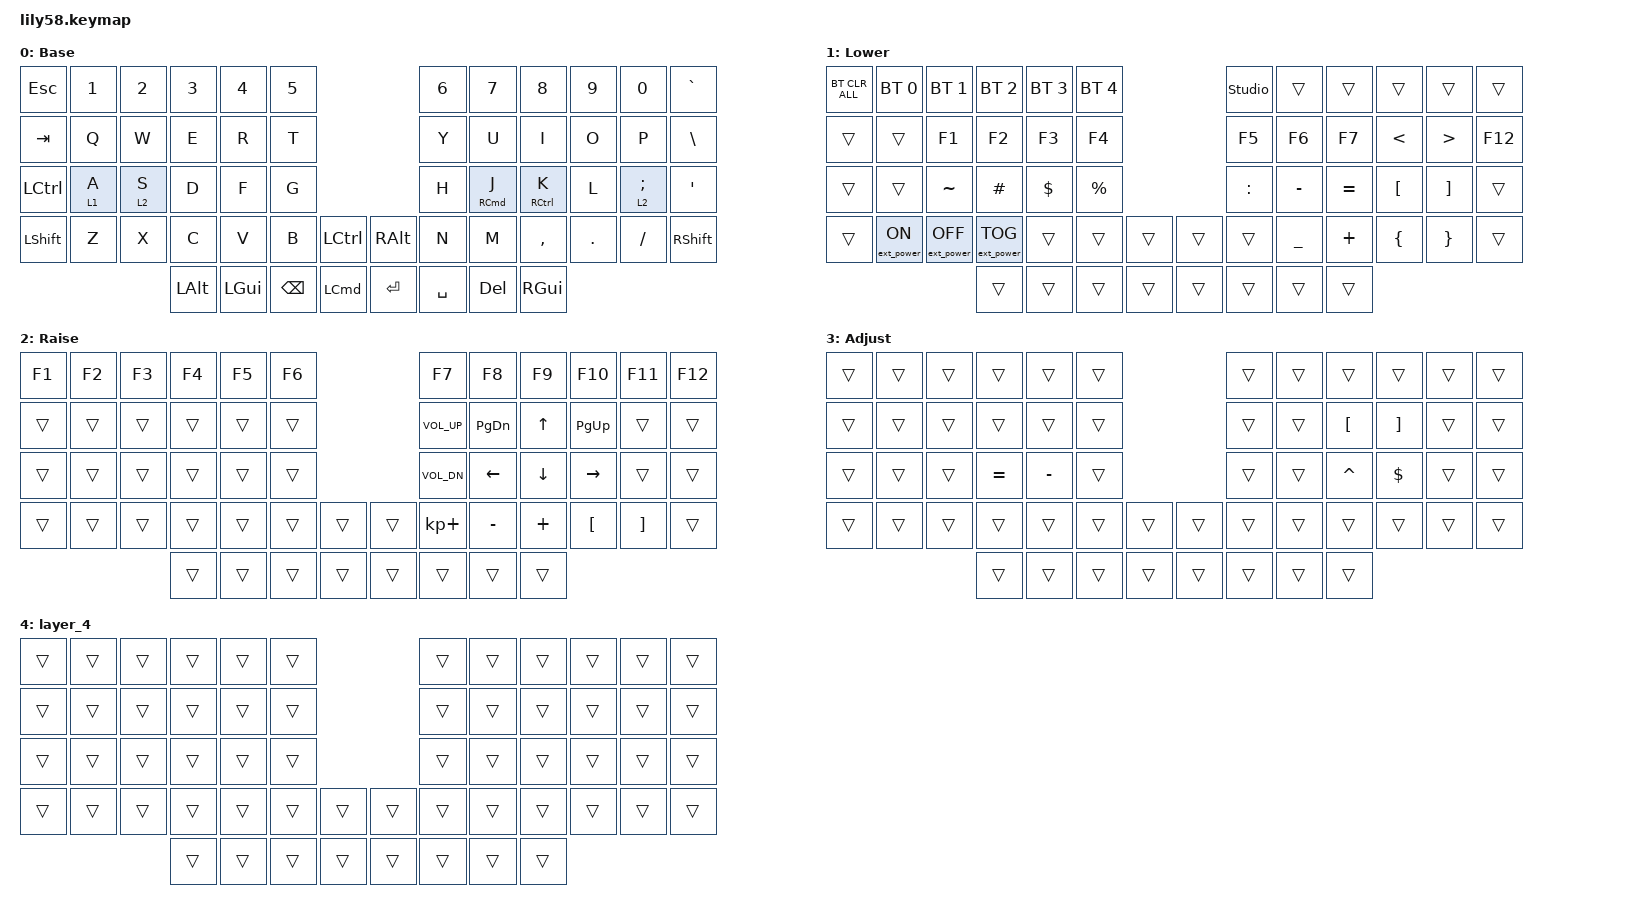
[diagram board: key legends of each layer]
/*
 * Copyright (c) 2020 The ZMK Contributors
 *
 * SPDX-License-Identifier: MIT
 */

#include <behaviors.dtsi>
#include <dt-bindings/zmk/bt.h>
#include <dt-bindings/zmk/ext_power.h>
#include <dt-bindings/zmk/keys.h>

#define default_layer 0
#define lower_layer 1
#define raise_layer 2
#define adjust_layer 3

/ {
    behaviors {
        // Home-row mod: bardziej odporny na szybkie pisanie niż wbudowane &mt.
        // - require-prior-idle-ms: jeśli poprzedni klawisz był <150ms temu,
        //   wymusza tap (litera), więc w płynnym pisaniu mod nie odpala.
        // - flavor balanced: mod tylko gdy przerywający klawisz zostanie
        //   naciśnięty I puszczony w trakcie trzymania.
        // - tapping-term-ms: minimalny czas przytrzymania, by uznać za mod.
        hm: home_row_mod {
            compatible = "zmk,behavior-hold-tap";
            #binding-cells = <2>;
            flavor = "balanced";
            tapping-term-ms = <220>;
            quick-tap-ms = <175>;
            require-prior-idle-ms = <150>;
            bindings = <&kp>, <&kp>;
            display-name = "Home Row Mod";
        };
    };

    keymap {
        compatible = "zmk,keymap";

        default_layer {
            display-name = "Base";

            // ------------------------------------------------------------------------------------------------------------
            // |  ESC  |  1  |  2  |  3   |  4   |  5   |                   |  6   |  7    |  8    |  9   |   0   |   `   |
            // |  TAB  |  Q  |  W  |  E   |  R   |  T   |                   |  Y   |  U    |  I    |  O   |   P   |   -   |
            // |  CTRL |  A  |  S  |  D   |  F   |  G   |                   |  H   |  J    |  K    |  L   |   ;   |   '   |
            // | SHIFT |  Z  |  X  |  C   |  V   |  B   |   "["  |  |  "]"  |  N   |  M    |  ,    |  .   |   /   | SHIFT |
            //                     | ALT  | GUI  | LOWER|  SPACE |  | ENTER | RAISE| BSPC  | GUI   |

            bindings = <
&kp ESC    &kp N1   &kp N2   &kp N3    &kp N4    &kp N5                                       &kp N6     &kp N7               &kp N8               &kp N9   &kp N0      &kp GRAVE
&kp TAB    &kp Q    &kp W    &kp E     &kp R     &kp T                                        &kp Y      &kp U                &kp I                &kp O    &kp P       &kp BSLH
&kp LCTRL  &lt 1 A  &lt 2 S  &kp D     &kp F     &kp G                                        &kp H      &hm RIGHT_COMMAND J  &hm RIGHT_CONTROL K  &kp L    &lt 2 SEMI  &kp SQT
&kp LSHFT  &kp Z    &kp X    &kp C     &kp V     &kp B          &kp LEFT_CONTROL    &kp RALT  &kp N      &kp M                &kp COMMA            &kp DOT  &kp FSLH    &kp RSHFT
                             &kp LALT  &kp LGUI  &kp BACKSPACE  &kp LEFT_COMMAND    &kp RET   &kp SPACE  &kp DELETE           &kp RGUI
            >;
        };

        lower_layer {
            display-name = "Lower";

            // ------------------------------------------------------------------------------------------------------------
            // | BTCLR | BT1 | BT2 |  BT3 |  BT4 |  BT5 |                   |      |       |       |      |       |       |
            // |  F1   |  F2 |  F3 |  F4  |  F5  |  F6  |                   |  F7  |  F8   |  F9   |  F10 |  F11  |  F12  |
            // |   `   |  !  |  @  |  #   |  $   |  %   |                   |  ^   |  &    |  *    |  (   |   )   |   ~   |
            // |       |     |     |      |      |      |        |  |       |      |  _    |  +    |  {   |   }   |  "|"  |
            //                     |      |      |      |        |  |       |      |       |       |

            bindings = <
&bt BT_CLR_ALL  &bt BT_SEL 0      &bt BT_SEL 1       &bt BT_SEL 2       &bt BT_SEL 3  &bt BT_SEL 4                    &studio_unlock  &trans     &trans     &trans         &trans            &trans
&trans          &trans            &kp F1             &kp F2             &kp F3        &kp F4                          &kp F5          &kp F6     &kp F7     &kp LESS_THAN  &kp GREATER_THAN  &kp F12
&trans          &trans            &kp TILDE          &kp HASH           &kp DOLLAR    &kp PRCNT                       &kp COLON       &kp MINUS  &kp EQUAL  &kp LBKT       &kp RBKT          &trans
&trans          &ext_power EP_ON  &ext_power EP_OFF  &ext_power EP_TOG  &trans        &trans        &trans    &trans  &trans          &kp UNDER  &kp PLUS   &kp LBRC       &kp RBRC          &trans
                                                     &trans             &trans        &trans        &trans    &trans  &trans          &trans     &trans
            >;
        };

        raise_layer {
            display-name = "Raise";

            // ------------------------------------------------------------------------------------------------------------
            // |       |     |     |      |      |      |                   |      |       |       |      |       |       |
            // |   `   |  1  |  2  |  3   |  4   |  5   |                   |  6   |   7   |   8   |  9   |   0   |       |
            // |   F1  |  F2 |  F3 |  F4  |  F5  |  F6  |                   |      |   <-  |   v   |  ^   |  ->   |       |
            // |   F7  |  F8 |  F9 |  F10 |  F11 |  F12 |        |  |       |  +   |   -   |   =   |  [   |   ]   |   \   |
            //                     |      |      |      |        |  |       |      |       |       |

            bindings = <
&kp F1  &kp F2  &kp F3  &kp F4  &kp F5  &kp F6                    &kp F7        &kp F8         &kp F9        &kp F10    &kp F11   &kp F12
&trans  &trans  &trans  &trans  &trans  &trans                    &kp C_VOL_UP  &kp PAGE_DOWN  &kp UP_ARROW  &kp PG_UP  &trans    &trans
&trans  &trans  &trans  &trans  &trans  &trans                    &kp C_VOL_DN  &kp LEFT       &kp DOWN      &kp RIGHT  &trans    &trans
&trans  &trans  &trans  &trans  &trans  &trans  &trans    &trans  &kp KP_PLUS   &kp MINUS      &kp PLUS      &kp LBKT   &kp RBKT  &trans
                        &trans  &trans  &trans  &trans    &trans  &trans        &trans         &trans
            >;
        };

        adjust_layer {
            display-name = "Adjust";

            // ------------------------------------------------------------------------------------------------------------
            // |       |     |     |      |      |      |                   |      |       |       |      |       |       |
            // |   `   |  1  |  2  |  3   |  4   |  5   |                   |  6   |   7   |   8   |  9   |   0   |       |
            // |   F1  |  F2 |  F3 |  F4  |  F5  |  F6  |                   |      |   <-  |   v   |  ^   |  ->   |       |
            // |   F7  |  F8 |  F9 |  F10 |  F11 |  F12 |        |  |       |  +   |   -   |   =   |  [   |   ]   |   \   |
            //                     |      |      |      |        |  |       |      |       |       |

            bindings = <
&trans  &trans  &trans  &trans     &trans     &trans                    &trans  &trans  &trans            &trans      &trans  &trans
&trans  &trans  &trans  &trans     &trans     &trans                    &trans  &trans  &kp LEFT_BRACKET  &kp RBKT    &trans  &trans
&trans  &trans  &trans  &kp EQUAL  &kp MINUS  &trans                    &trans  &trans  &kp CARET         &kp DOLLAR  &trans  &trans
&trans  &trans  &trans  &trans     &trans     &trans  &trans    &trans  &trans  &trans  &trans            &trans      &trans  &trans
                        &trans     &trans     &trans  &trans    &trans  &trans  &trans  &trans
            >;
        };

        layer_4 {
            bindings = <
&trans  &trans  &trans  &trans  &trans  &trans                    &trans  &trans  &trans  &trans  &trans  &trans
&trans  &trans  &trans  &trans  &trans  &trans                    &trans  &trans  &trans  &trans  &trans  &trans
&trans  &trans  &trans  &trans  &trans  &trans                    &trans  &trans  &trans  &trans  &trans  &trans
&trans  &trans  &trans  &trans  &trans  &trans  &trans    &trans  &trans  &trans  &trans  &trans  &trans  &trans
                        &trans  &trans  &trans  &trans    &trans  &trans  &trans  &trans
            >;
        };
    };
};
